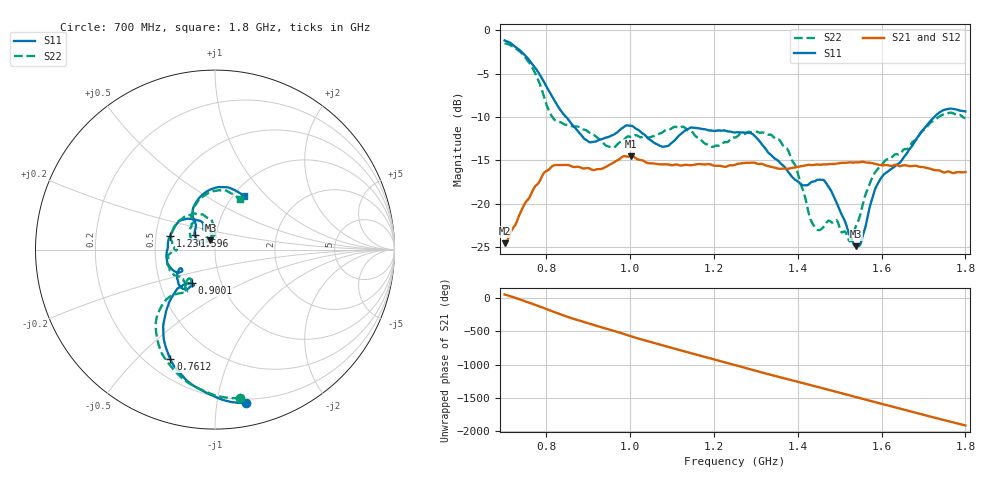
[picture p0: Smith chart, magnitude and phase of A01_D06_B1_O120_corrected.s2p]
! Created with skrf 1.9.0 (http://scikit-rf.org).
# Hz S RI R 50.0
!freq ReS11 ImS11 ReS21 ImS21 ReS12 ImS12 ReS22 ImS22
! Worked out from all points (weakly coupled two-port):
!   1601 points, 700 MHz to 1.8 GHz, reference 50 ohm
!   highest |S21| = -14.48 dB at 1.002 GHz (marker M1); lowest = -24.5 dB at 700 MHz (marker M2)
!   lowest |S11| = -24.9 dB at 1.538 GHz (marker M3), VSWR 1.12, Z = 47.3 + j4.86 ohm
!   |S11| at or under -10 dB: 847.1 MHz to 1.726 GHz (878.6 MHz wide, 68.3 % of centre)
!   |S22| runs from -24.3 to -1.5 dB; largest |S21 - S12| = 0.0034
!   S11 on the Smith chart (normalised r, x): 700 MHz: 0.17, -1.21; 761.2 MHz: 0.29, -0.63; 900.1 MHz: 0.72, -0.29; 1.236 GHz: 0.60, +0.10; 1.596 GHz: 0.79, +0.13; 1.8 GHz: 1.12, +0.76
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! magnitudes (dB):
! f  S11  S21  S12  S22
! 700 MHz  -1.2  -24.5  -24.3  -1.5
! 761.2 MHz  -3.6  -19.1  -19.0  -3.9
! 816.2 MHz  -7.9  -15.6  -15.7  -10.2
! 883.6 MHz  -12.1  -15.9  -15.8  -11.4
! 900.1 MHz  -12.8  -15.9  -15.9  -11.7
! 955.8 MHz  -12.1  -15.4  -15.4  -13.5
! 1.002 GHz  -11.0  -14.5  -14.6  -12.3
! 1.067 GHz  -13.2  -15.4  -15.4  -12.0
! 1.145 GHz  -11.2  -15.5  -15.5  -11.6
! 1.236 GHz  -11.7  -15.6  -15.7  -12.7
! 1.25 GHz  -11.8  -15.5  -15.4  -12.4
! 1.357 GHz  -15.3  -16.0  -15.9  -12.7
! 1.395 GHz  -17.3  -15.8  -15.8  -15.7
! 1.434 GHz  -17.5  -15.5  -15.5  -22.1
! 1.47 GHz  -17.8  -15.4  -15.4  -22.1
! 1.524 GHz  -23.6  -15.2  -15.2  -24.3
! 1.538 GHz  -24.9  -15.2  -15.2  -22.6
! 1.551 GHz  -24.4  -15.2  -15.2  -20.9
! 1.596 GHz  -17.2  -15.5  -15.5  -15.7
! 1.617 GHz  -16.2  -15.6  -15.5  -14.8
! 1.735 GHz  -9.6  -16.1  -16.2  -10.0
! 1.8 GHz  -9.4  -16.3  -16.3  -10.1
